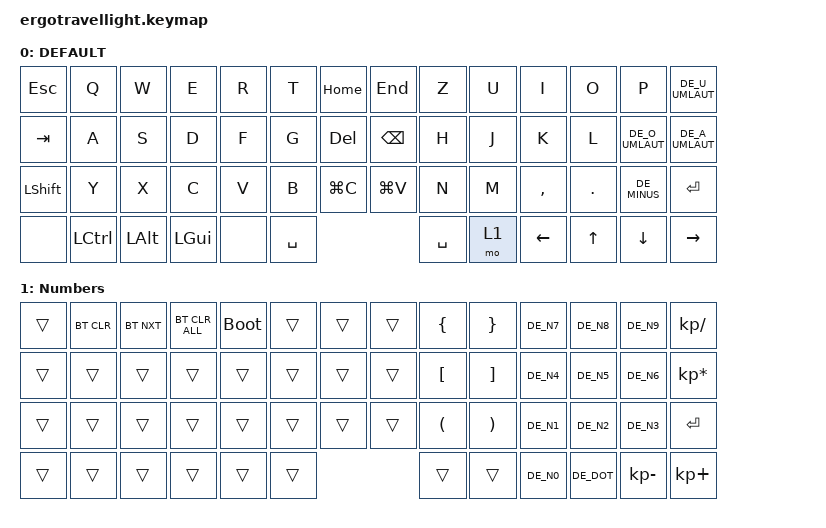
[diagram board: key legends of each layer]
#include <behaviors.dtsi>
#include "keys_de.h"
#include <dt-bindings/zmk/keys.h>
#include <dt-bindings/zmk/bt.h>

// Layer aliases.

#define DEFAULT 0
#define NUMBERS 1
#define SECOND 2
#define THIRD 3
#define FOURTH 4

/ {
    keymap {
        compatible = "zmk,keymap";

        DEFAULT {
            // --------------------------------------------------------------------------------------------------------------------------------------------------------------------
            // |   ESC   |    Q    |    W    |    E    |    R    |    T    |    ?                                ?    |    Z    |    U    |    I    |    O    |    P    |    Ü    |
            // |   TAB   |    A    |    S    |    D    |    F    |    G    |    ?                                ?    |    H    |    J    |    K    |    L    |    Ö    |    Ä    |
            // |  SHIFT  |    Z    |    X    |    C    |    V    |    B    | CTRL+A  | CTRL+C  |  |  CTRL+V |  CTRL+X |    N    |    M    |    ,    |    .    |    /    |  RETURN |
            // |    L0   | CONTROL | OPTION  | COMMAND |                    |   GUI   |   DEL   | RETURN  |  SPACE  | ESCAPE  |  |  RETURN |  SPACE  |   TAB   |   BSPC  |  R ALT  |

            bindings = <
&kp ESC     &kp Q      &kp W         &kp E     &kp R  &kp T      &kp HOME   &kp END    &kp Z      &kp U  &kp I           &kp O         &kp P            &kp DE_U_UMLAUT
&kp TAB     &kp A      &kp S         &kp D     &kp F  &kp G      &kp DEL    &kp BSPC   &kp H      &kp J  &kp K           &kp L         &kp DE_O_UMLAUT  &kp DE_A_UMLAUT
&kp LSHIFT  &kp Y      &kp X         &kp C     &kp V  &kp B      &kp LG(C)  &kp LG(V)  &kp N      &kp M  &kp COMMA       &kp DOT       &kp DE_MINUS     &kp RETURN
&none       &kp LCTRL  &kp LEFT_ALT  &kp LGUI  &none  &kp SPACE                        &kp SPACE  &mo 1  &kp LEFT_ARROW  &kp UP_ARROW  &kp DOWN_ARROW   &kp RIGHT_ARROW
            >;

            // sensor-bindings = <&inc_dec_kp C_VOL_UP C_VOL_DN &inc_dec_kp PG_UP PG_DN>;
        };

        numbers_layer {
            display-name = "Numbers";
            bindings = <
                &trans  &bt BT_CLR  &bt BT_NXT  &bt BT_CLR_ALL  &bootloader  &trans  &trans  &trans  &kp LEFT_BRACE  &kp RIGHT_BRACE  &kp DE_N7  &kp DE_N8  &kp DE_N9  &kp KP_DIVIDE
                &trans  &trans  &trans  &trans  &trans  &trans  &trans  &trans  &kp LEFT_BRACKET  &kp RIGHT_BRACKET  &kp DE_N4  &kp DE_N5  &kp DE_N6  &kp KP_MULTIPLY
                &trans  &trans  &trans  &trans  &trans  &trans  &trans  &trans  &kp LEFT_PARENTHESIS  &kp RIGHT_PARENTHESIS  &kp DE_N1  &kp DE_N2  &kp DE_N3  &kp RETURN
                &trans  &trans  &trans  &trans  &trans  &trans  &trans  &trans  &kp DE_N0  &kp DE_DOT  &kp KP_SUBTRACT  &kp KP_PLUS
            >;
        };

        /*
        FIRST {

        };

        SECOND {

        };

        THIRD {

        };

        FOURTH {

        };*/
    };
};
